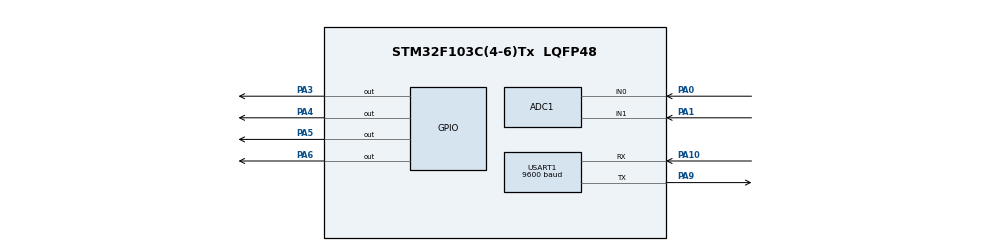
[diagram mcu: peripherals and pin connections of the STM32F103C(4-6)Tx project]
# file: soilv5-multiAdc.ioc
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ADC1.Channel-0\#ChannelRegularConversion=ADC_CHANNEL_1
ADC1.Channel-1\#ChannelRegularConversion=ADC_CHANNEL_0
ADC1.ContinuousConvMode=ENABLE
ADC1.NbrOfConversion=2
ADC1.NbrOfConversionFlag=1
ADC1.Rank-0\#ChannelRegularConversion=1
ADC1.Rank-1\#ChannelRegularConversion=2
ADC1.SamplingTime-0\#ChannelRegularConversion=ADC_SAMPLETIME_1CYCLE_5
ADC1.SamplingTime-1\#ChannelRegularConversion=ADC_SAMPLETIME_1CYCLE_5
ADC1.master=1
Mcu.Family=STM32F1
Mcu.Name=STM32F103C(4-6)Tx
Mcu.Package=LQFP48
NVIC.PriorityGroup=NVIC_PRIORITYGROUP_4
PA0-WKUP.Signal=ADCx_IN0
PA1.Signal=ADCx_IN1
PA10.Mode=Asynchronous
PA10.Signal=USART1_RX
PA3.Signal=GPIO_Output
PA4.Signal=GPIO_Output
PA5.Signal=GPIO_Output
PA6.Signal=GPIO_Output
PA9.Mode=Asynchronous
PA9.Signal=USART1_TX
ProjectManager.HeapSize=0x200
ProjectManager.StackSize=0x400
ProjectManager.TargetToolchain=STM32CubeIDE
RCC.APB1Freq_Value=8000000
RCC.APB2Freq_Value=8000000
SH.ADCx_IN0.0=ADC1_IN0,IN0
SH.ADCx_IN1.0=ADC1_IN1,IN1
USART1.BaudRate=9600
USART1.VirtualMode=VM_ASYNC
VP_SYS_VS_ND.Mode=No_Debug
board=custom

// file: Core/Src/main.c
/* USER CODE BEGIN Header */
/**
  ******************************************************************************
  * @file           : main.c
  * @brief          : Main program body
  ******************************************************************************
  * @attention
  *
  * Copyright (c) 2022 STMicroelectronics.
  * All rights reserved.
  *
  * This software is licensed under terms that can be found in the LICENSE file
  * in the root directory of this software component.
  * If no LICENSE file comes with this software, it is provided AS-IS.
  *
  ******************************************************************************
  */
/* USER CODE END Header */
#include "main.h"

#include <string.h>;

ADC_HandleTypeDef hadc1;

UART_HandleTypeDef huart1;

void SystemClock_Config(void);
static void MX_GPIO_Init(void);
static void MX_ADC1_Init(void);
static void MX_USART1_UART_Init(void);

int main(void)
{

  /* MCU Configuration--------------------------------------------------------*/

  /* Reset of all peripherals, Initializes the Flash interface and the Systick. */
  HAL_Init();

  /* Configure the system clock */
  SystemClock_Config();

  /* Initialize all configured peripherals */
  MX_GPIO_Init();
  MX_ADC1_Init();
  MX_USART1_UART_Init();
  /* USER CODE BEGIN 2 */
  int soilMoisture;
  int waterLevel;
  int lastState[2] = {0, 0};

  HAL_UART_Transmit(&huart1, "Smart Pot\r\n", 10, 20);
  /* USER CODE END 2 */

  /* Infinite loop */
  while (1)
  {

    /* USER CODE BEGIN 3 */
	  HAL_ADC_Start(&hadc1);

	  HAL_ADC_PollForConversion(&hadc1, 20);
	  soilMoisture = HAL_ADC_GetValue(&hadc1);

	  HAL_ADC_PollForConversion(&hadc1, 20);
	  waterLevel = HAL_ADC_GetValue(&hadc1);

	  HAL_ADC_Stop(&hadc1);

	  if(soilMoisture < 1200) {
		  HAL_GPIO_WritePin(GPIOA, GPIO_PIN_3, 1);

		  if(lastState[0] != soilMoisture) {
			  HAL_UART_Transmit(&huart1, "HS: Baixo\r\n", 10, 20);
		  }

	  } else {
		  HAL_GPIO_WritePin(GPIOA, GPIO_PIN_3, 0);
	  }

	  if(waterLevel >= 2000) {
		  HAL_GPIO_WritePin(GPIOA, GPIO_PIN_4, 1);
		  HAL_GPIO_WritePin(GPIOA, GPIO_PIN_5, 0);
		  HAL_GPIO_WritePin(GPIOA, GPIO_PIN_6, 0);
		  if(lastState[1] != waterLevel) {
			  HAL_UART_Transmit(&huart1, "WL: Alto\r\n", 10, 20);
		  }
		  HAL_Delay(200);
	  } else if (waterLevel < 2000 && waterLevel >= 800 ) {
		  HAL_GPIO_WritePin(GPIOA, GPIO_PIN_4, 0);
		  HAL_GPIO_WritePin(GPIOA, GPIO_PIN_5, 1);
		  HAL_GPIO_WritePin(GPIOA, GPIO_PIN_6, 0);
		  if(lastState[1] != waterLevel) {
			  HAL_UART_Transmit(&huart1, "WL: Medio\r\n", 10, 20);
		  }
		  HAL_Delay(200);
	  } else if (waterLevel < 800 && waterLevel > 0 ) {
		  HAL_GPIO_WritePin(GPIOA, GPIO_PIN_4, 0);
		  HAL_GPIO_WritePin(GPIOA, GPIO_PIN_5, 0);
		  HAL_GPIO_WritePin(GPIOA, GPIO_PIN_6, 1);
		  if(lastState[1] != waterLevel) {
			  HAL_UART_Transmit(&huart1, "WL: Baixo\r\n", 10, 20);
		  }
		  HAL_Delay(200);
	  }
	  lastState[0] = soilMoisture;
	  lastState[1] = waterLevel;
	  if(lastState[1] != waterLevel || lastState[0] != soilMoisture) {
		  HAL_UART_Transmit(&huart1, "WL: Alto\r\n", 10, 20);
	  }
  }
  /* USER CODE END 3 */
}

void SystemClock_Config(void)
{
  RCC_OscInitTypeDef RCC_OscInitStruct = {0};
  RCC_ClkInitTypeDef RCC_ClkInitStruct = {0};
  RCC_PeriphCLKInitTypeDef PeriphClkInit = {0};

  /** Initializes the RCC Oscillators according to the specified parameters
  * in the RCC_OscInitTypeDef structure.
  */
  RCC_OscInitStruct.OscillatorType = RCC_OSCILLATORTYPE_HSI;
  RCC_OscInitStruct.HSIState = RCC_HSI_ON;
  RCC_OscInitStruct.HSICalibrationValue = RCC_HSICALIBRATION_DEFAULT;
  RCC_OscInitStruct.PLL.PLLState = RCC_PLL_NONE;
  if (HAL_RCC_OscConfig(&RCC_OscInitStruct) != HAL_OK)
  {
    Error_Handler();
  }
  /** Initializes the CPU, AHB and APB buses clocks
  */
  RCC_ClkInitStruct.ClockType = RCC_CLOCKTYPE_HCLK|RCC_CLOCKTYPE_SYSCLK
                              |RCC_CLOCKTYPE_PCLK1|RCC_CLOCKTYPE_PCLK2;
  RCC_ClkInitStruct.SYSCLKSource = RCC_SYSCLKSOURCE_HSI;
  RCC_ClkInitStruct.AHBCLKDivider = RCC_SYSCLK_DIV1;
  RCC_ClkInitStruct.APB1CLKDivider = RCC_HCLK_DIV1;
  RCC_ClkInitStruct.APB2CLKDivider = RCC_HCLK_DIV1;

  if (HAL_RCC_ClockConfig(&RCC_ClkInitStruct, FLASH_LATENCY_0) != HAL_OK)
  {
    Error_Handler();
  }
  PeriphClkInit.PeriphClockSelection = RCC_PERIPHCLK_ADC;
  PeriphClkInit.AdcClockSelection = RCC_ADCPCLK2_DIV2;
  if (HAL_RCCEx_PeriphCLKConfig(&PeriphClkInit) != HAL_OK)
  {
    Error_Handler();
  }
}

static void MX_ADC1_Init(void)
{

  ADC_ChannelConfTypeDef sConfig = {0};

  /** Common config
  */
  hadc1.Instance = ADC1;
  hadc1.Init.ScanConvMode = ADC_SCAN_ENABLE;
  hadc1.Init.ContinuousConvMode = ENABLE;
  hadc1.Init.DiscontinuousConvMode = DISABLE;
  hadc1.Init.ExternalTrigConv = ADC_SOFTWARE_START;
  hadc1.Init.DataAlign = ADC_DATAALIGN_RIGHT;
  hadc1.Init.NbrOfConversion = 2;
  if (HAL_ADC_Init(&hadc1) != HAL_OK)
  {
    Error_Handler();
  }
  /** Configure Regular Channel
  */
  sConfig.Channel = ADC_CHANNEL_1;
  sConfig.Rank = ADC_REGULAR_RANK_1;
  sConfig.SamplingTime = ADC_SAMPLETIME_1CYCLE_5;
  if (HAL_ADC_ConfigChannel(&hadc1, &sConfig) != HAL_OK)
  {
    Error_Handler();
  }
  /** Configure Regular Channel
  */
  sConfig.Channel = ADC_CHANNEL_0;
  sConfig.Rank = ADC_REGULAR_RANK_2;
  if (HAL_ADC_ConfigChannel(&hadc1, &sConfig) != HAL_OK)
  {
    Error_Handler();
  }

}

static void MX_USART1_UART_Init(void)
{

  huart1.Instance = USART1;
  huart1.Init.BaudRate = 9600;
  huart1.Init.WordLength = UART_WORDLENGTH_8B;
  huart1.Init.StopBits = UART_STOPBITS_1;
  huart1.Init.Parity = UART_PARITY_NONE;
  huart1.Init.Mode = UART_MODE_TX_RX;
  huart1.Init.HwFlowCtl = UART_HWCONTROL_NONE;
  huart1.Init.OverSampling = UART_OVERSAMPLING_16;
  if (HAL_UART_Init(&huart1) != HAL_OK)
  {
    Error_Handler();
  }

}

static void MX_GPIO_Init(void)
{
  GPIO_InitTypeDef GPIO_InitStruct = {0};

  /* GPIO Ports Clock Enable */
  __HAL_RCC_GPIOA_CLK_ENABLE();

  /*Configure GPIO pin Output Level */
  HAL_GPIO_WritePin(GPIOA, GPIO_PIN_3|GPIO_PIN_4|GPIO_PIN_5|GPIO_PIN_6, GPIO_PIN_RESET);

  /*Configure GPIO pins : PA3 PA4 PA5 PA6 */
  GPIO_InitStruct.Pin = GPIO_PIN_3|GPIO_PIN_4|GPIO_PIN_5|GPIO_PIN_6;
  GPIO_InitStruct.Mode = GPIO_MODE_OUTPUT_PP;
  GPIO_InitStruct.Pull = GPIO_NOPULL;
  GPIO_InitStruct.Speed = GPIO_SPEED_FREQ_LOW;
  HAL_GPIO_Init(GPIOA, &GPIO_InitStruct);

}

void Error_Handler(void)
{
  __disable_irq();
  while (1)
  {
  }
}
